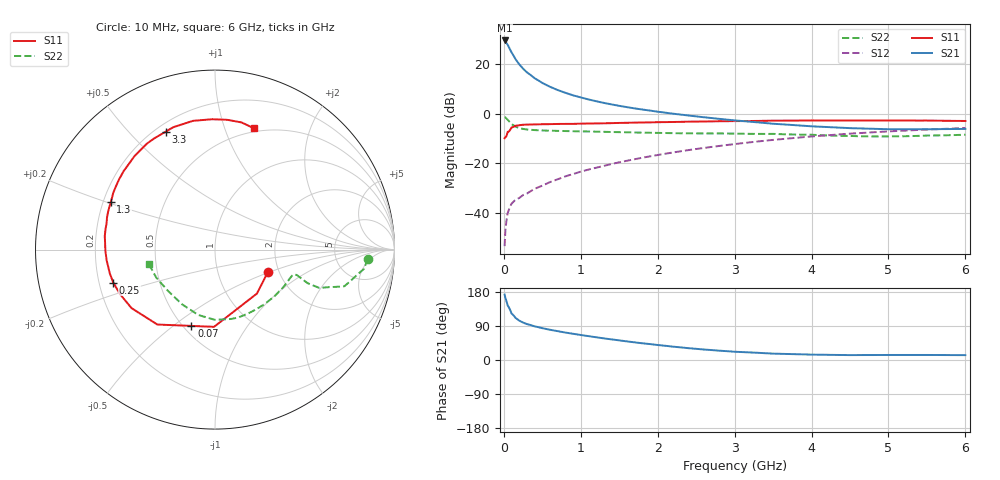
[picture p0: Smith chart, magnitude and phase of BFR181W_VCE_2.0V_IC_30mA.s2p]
! Infineon Technologies  Discrete & RF Semiconductors
! BFR181W
! VCE =  2.0 V,  IC =  30 mA
! Common Emitter S-Parameters:  Jan 2017
# GHz  S  MA  R  50
!  f  S11  S21  S12  S22
! GHz  MAG  ANG  MAG  ANG  MAG  ANG  MAG  ANG
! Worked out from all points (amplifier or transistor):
!   77 points, 10 MHz to 6 GHz, reference 50 ohm
!   highest |S21| = 29.3 dB at 10 MHz (marker M1)
!   |S21| within 3 dB of that: start of sweep to 70.7 MHz
!   unconditionally stable (mu >= 1): start of sweep to 20.36 MHz; 182.5 MHz to end of sweep
!   at 130 MHz: K = 0.81, MSG = 29.1 dB, |S12| = -35.2 dB
!   at 2.2 GHz: K = 1.22, MAG = 5.0 dB, |S12| = -15.6 dB
!   at 6 GHz: K = 1.17, MAG = -2.7 dB, |S12| = -5.8 dB
!   S11 on the Smith chart (normalised r, x): 10 MHz: 1.74, -0.49; 70 MHz: 0.55, -0.58; 250 MHz: 0.26, -0.15; 1.3 GHz: 0.23, +0.21; 3.3 GHz: 0.24, +0.64; 6 GHz: 0.46, +1.27
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0.01  0.3201 -23.4  29.16 172.5  0.0022 72.9  0.8523 -3.5
0.02  0.3385 -46.4  28.14 163.9  0.0045 73.2  0.8376 -7.3
0.05  0.4303 -90.7  23.88 143.8  0.0101 61.8  0.7493 -15.8
0.07  0.4451 -107.2  20.75 137.1  0.0123 58.4  0.6959 -17.4
0.1  0.5269 -127.6  16.82 122.7  0.0156 55.1  0.617 -20.2
0.15  0.568 -145.0  12.43 111.5  0.0186 53.8  0.5481 -19.9
0.2  0.5845 -154.9  9.705 103.9  0.0203 53.0  0.5116 -18.7
0.25  0.5957 -162.0  7.942 98.8  0.0233 56.4  0.4922 -17.9
0.3  0.6008 -167.0  6.694 94.8  0.0249 58.4  0.4792 -17.3
0.4  0.6066 -174.3  5.102 88.7  0.031 63.7  0.4662 -17.2
0.5  0.6109 -179.4  4.105 84.0  0.0359 66.7  0.4585 -17.8
0.6  0.6135 176.5  3.44 79.8  0.0423 69.5  0.4535 -18.7
0.7  0.6187 173.0  2.96 76.1  0.0482 71.8  0.4497 -19.9
0.9  0.6215 166.4  2.319 69.2  0.0613 75.0  0.4427 -23.3
1.1  0.6313 160.9  1.92 63.0  0.0754 76.8  0.4371 -26.9
1.3  0.6377 155.6  1.634 57.1  0.0893 77.3  0.4309 -31.1
2.1  0.6737 137.1  1.041 37.5  0.1567 76.2  0.4068 -51.0
3.1  0.7072 116.8  0.708 20.9  0.2547 67.9  0.3942 -79.3
3.3  0.7121 112.7  0.666 19.0  0.2754 65.7  0.3911 -84.7
4.1  0.7263 98.0  0.546 14.0  0.3567 56.1  0.3696 -107.5
5.1  0.7251 83.3  0.485 13.3  0.4464 43.2  0.3492 -141.9
6  0.7099 72.1  0.492 12.8  0.5131 31.9  0.3765 -167.4
